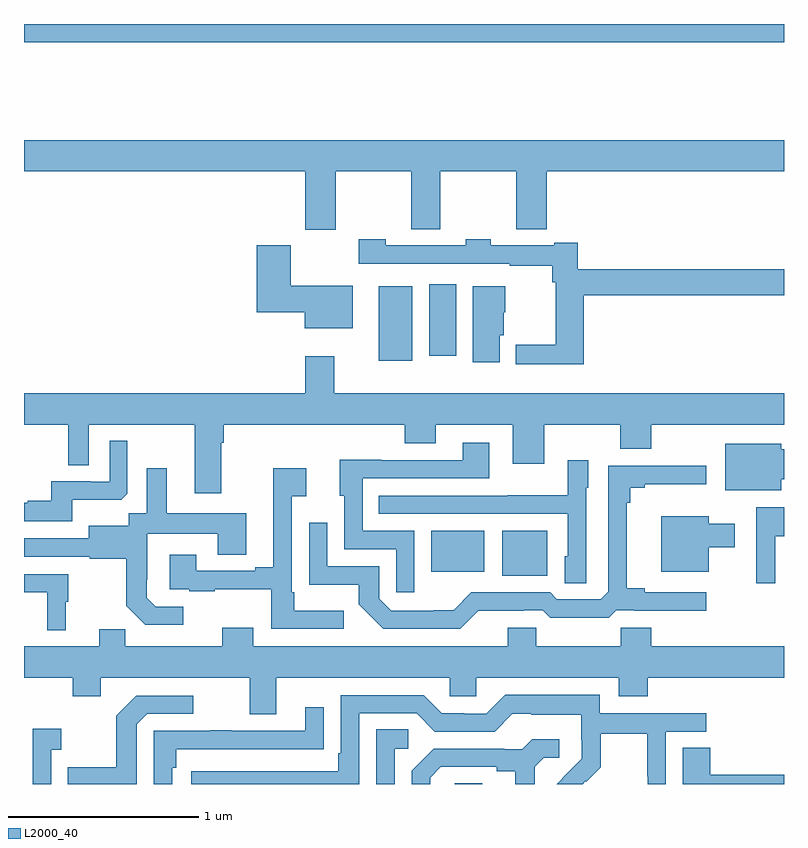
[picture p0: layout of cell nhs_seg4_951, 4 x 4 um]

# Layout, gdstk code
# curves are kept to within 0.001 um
import gdstk
lib = gdstk.Library(unit=1e-6, precision=1e-09)
def R(c, l, rs):  # rectangles x0, y0, x1, y1
    for r in rs: c.add(gdstk.rectangle(r[:2], r[2:], *l))
def P(c, l, *ps):  # polygons
    for p in ps: c.add(gdstk.Polygon(p, *l))
L2000_40 = (2000, 40)

nhs_seg4_951 = lib.new_cell('nhs_seg4_951')
R(nhs_seg4_951, L2000_40, [(161.268,822.9,161.413,822.905), (161.516,823.997,161.755,824.233), (161.144,824.018,161.422,824.233), (160.868,825.128,161.044,825.52), (161.132,825.153,161.275,825.529), (159,826.804,163,826.9)])
P(nhs_seg4_951, L2000_40, [(160.641,826.124),(161.038,826.124),(161.038,825.82),(161.192,825.82),(161.192,826.124),(161.59,826.124),(161.59,825.82),(161.75,825.82),(161.75,826.124),(163,826.124),(163,826.288),(159,826.288),(159,826.124),(160.481,826.124),(160.481,825.816),(160.641,825.816)],
  [(161.945,825.472),(163,825.472),(163,825.608),(161.915,825.608),(161.915,825.748),(161.792,825.748),(161.792,825.735),(161.457,825.735),(161.457,825.768),(161.325,825.768),(161.325,825.735),(160.905,825.735),(160.905,825.768),(160.761,825.768),(160.761,825.639),(161.557,825.639),(161.557,825.627),(161.779,825.627),(161.779,825.542),(161.798,825.542),(161.798,825.212),(161.589,825.212),(161.589,825.11),(161.945,825.11)],
  [(160.729,825.523),(160.404,825.523),(160.404,825.736),(160.226,825.736),(160.226,825.383),(160.478,825.383),(160.478,825.299),(160.729,825.299)],
  [(161.503,825.261),(161.524,825.261),(161.524,825.384),(161.533,825.384),(161.533,825.52),(161.363,825.52),(161.363,825.12),(161.503,825.12)],
  [(160.039,824.696),(160.052,824.696),(160.052,824.792),(161.003,824.792),(161.003,824.693),(161.167,824.693),(161.167,824.792),(161.573,824.792),(161.573,824.586),(161.737,824.586),(161.737,824.792),(162.137,824.792),(162.137,824.664),(162.301,824.664),(162.301,824.792),(163,824.792),(163,824.956),(160.633,824.956),(160.633,825.151),(160.481,825.151),(160.481,824.956),(159,824.956),(159,824.792),(159.234,824.792),(159.234,824.578),(159.342,824.578),(159.342,824.792),(159.899,824.792),(159.899,824.43),(160.039,824.43)],
  [(159.253,824.396),(159.511,824.396),(159.543,824.427),(159.543,824.707),(159.45,824.707),(159.45,824.49),(159.35,824.49),(159.35,824.493),(159.143,824.493),(159.143,824.392),(159.019,824.392),(159.019,824.38),(159,824.38),(159,824.283),(159.253,824.283)],
  [(161.055,824.232),(160.782,824.232),(160.782,824.508),(161.449,824.508),(161.449,824.695),(161.309,824.695),(161.309,824.604),(160.879,824.604),(160.879,824.606),(160.661,824.606),(160.661,824.418),(160.686,824.418),(160.686,824.136),(160.959,824.136),(160.959,823.908),(161.055,823.908)],
  [(162.985,824.504),(163,824.504),(163,824.662),(162.985,824.662),(162.985,824.692),(162.692,824.692),(162.692,824.447),(162.985,824.447)],
  [(161.958,824.46),(161.971,824.46),(161.971,824.605),(161.862,824.605),(161.862,824.419),(161.545,824.419),(161.545,824.418),(160.867,824.418),(160.867,824.322),(161.862,824.322),(161.862,824.1),(161.846,824.1),(161.846,823.957),(161.958,823.957)],
  [(161.39,823.811),(161.63,823.811),(161.63,823.815),(161.73,823.815),(161.77,823.776),(162.077,823.776),(162.117,823.815),(162.211,823.815),(162.211,823.811),(162.592,823.811),(162.592,823.908),(162.268,823.908),(162.268,823.931),(162.173,823.931),(162.173,824.381),(162.191,824.381),(162.191,824.458),(162.268,824.458),(162.268,824.477),(162.592,824.477),(162.592,824.574),(162.075,824.574),(162.075,823.911),(162.036,823.872),(161.805,823.872),(161.769,823.908),(161.355,823.908),(161.261,823.814),(161.156,823.814),(161.156,823.812),(160.932,823.812),(160.869,823.875),(160.869,824.046),(160.596,824.046),(160.596,824.275),(160.5,824.275),(160.5,823.949),(160.762,823.949),(160.762,823.847),(160.892,823.716),(161.295,823.716)],
  [(159.838,823.833),(159.693,823.833),(159.646,823.88),(159.646,823.975),(159.648,823.975),(159.648,824.216),(160.019,824.216),(160.019,824.107),(160.171,824.107),(160.171,824.326),(159.751,824.326),(159.751,824.563),(159.647,824.563),(159.647,824.324),(159.552,824.324),(159.552,824.26),(159.341,824.26),(159.341,824.193),(159,824.193),(159,824.097),(159.345,824.097),(159.345,824.085),(159.537,824.085),(159.537,823.839),(159.637,823.739),(159.838,823.739)],
  [(160.684,823.813),(160.423,823.813),(160.423,823.909),(160.41,823.909),(160.41,824.414),(160.486,824.414),(160.486,824.563),(160.313,824.563),(160.313,824.041),(160.217,824.041),(160.217,824.022),(159.907,824.022),(159.907,824.107),(159.767,824.107),(159.767,823.926),(159.871,823.926),(159.871,823.914),(160.003,823.914),(160.003,823.925),(160.302,823.925),(160.302,823.716),(160.684,823.716)],
  [(162.953,824.204),(163,824.204),(163,824.356),(162.855,824.356),(162.855,823.956),(162.953,823.956)],
  [(162.604,824.147),(162.742,824.147),(162.742,824.269),(162.604,824.269),(162.604,824.308),(162.353,824.308),(162.353,824.018),(162.604,824.018)],
  [(159.22,823.86),(159.232,823.86),(159.232,824.004),(159,824.004),(159,823.908),(159.122,823.908),(159.122,823.709),(159.22,823.709)],
  [(160.327,823.46),(161.241,823.46),(161.241,823.362),(161.379,823.362),(161.379,823.46),(162.131,823.46),(162.131,823.361),(162.284,823.361),(162.284,823.46),(163,823.46),(163,823.624),(162.302,823.624),(162.302,823.722),(162.142,823.722),(162.142,823.624),(161.697,823.624),(161.697,823.722),(161.546,823.722),(161.546,823.624),(160.207,823.624),(160.207,823.723),(160.043,823.723),(160.043,823.624),(159.533,823.624),(159.533,823.715),(159.395,823.715),(159.395,823.624),(159,823.624),(159,823.46),(159.256,823.46),(159.256,823.361),(159.403,823.361),(159.403,823.46),(160.187,823.46),(160.187,823.266),(160.327,823.266)],
  [(160.764,823.272),(161.067,823.272),(161.163,823.176),(161.478,823.176),(161.571,823.269),(161.671,823.269),(161.671,823.265),(161.934,823.265),(161.934,823.131),(161.936,823.131),(161.936,823.034),(161.804,822.9),(161.94,822.9),(161.955,822.915),(161.958,822.912),(162.035,822.989),(162.035,823.164),(162.28,823.164),(162.28,822.94),(162.282,822.94),(162.282,822.9),(162.378,822.9),(162.378,823.176),(162.592,823.176),(162.592,823.272),(162.03,823.272),(162.03,823.369),(161.533,823.369),(161.433,823.269),(161.318,823.269),(161.318,823.272),(161.199,823.272),(161.103,823.368),(160.668,823.368),(160.668,823.063),(160.655,823.063),(160.655,822.966),(159.879,822.966),(159.879,822.9),(160.764,822.9)],
  [(159.594,823.215),(159.648,823.269),(159.892,823.269),(159.892,823.365),(159.591,823.365),(159.486,823.259),(159.486,822.987),(159.229,822.987),(159.229,822.9),(159.594,822.9)],
  [(159.78,822.986),(159.8,822.986),(159.8,823.083),(160.475,823.083),(160.475,823.084),(160.577,823.084),(160.577,823.303),(160.481,823.303),(160.481,823.179),(160.091,823.179),(160.091,823.184),(159.979,823.184),(159.979,823.179),(159.684,823.179),(159.684,822.9),(159.78,822.9)],
  [(159.144,823.079),(159.196,823.079),(159.196,823.192),(159.047,823.192),(159.047,822.9),(159.144,822.9)],
  [(160.95,823.086),(161.023,823.086),(161.023,823.187),(160.854,823.187),(160.854,822.9),(160.95,822.9)],
  [(161.137,822.933),(161.194,822.99),(161.489,822.99),(161.489,822.968),(161.585,822.968),(161.585,822.9),(161.689,822.9),(161.689,822.991),(161.736,823.038),(161.818,823.038),(161.818,823.135),(161.674,823.135),(161.622,823.083),(161.528,823.083),(161.528,823.086),(161.156,823.086),(161.04,822.97),(161.04,822.9),(161.137,822.9)],
  [(163,822.95),(162.611,822.95),(162.611,823.091),(162.467,823.091),(162.467,822.9),(163,822.9)])

lib.write_gds('nhs_seg4_951.gds')
